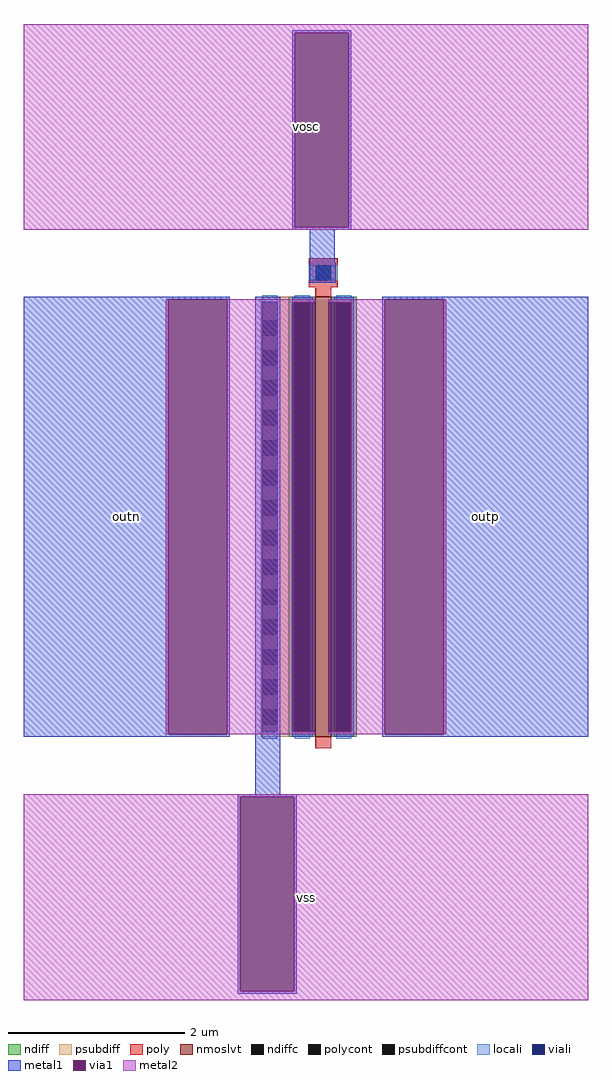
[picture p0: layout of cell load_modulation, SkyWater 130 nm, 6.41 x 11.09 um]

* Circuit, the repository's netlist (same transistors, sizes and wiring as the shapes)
** sch_path: /home/karlajcm/Documentos/TESIS DE
*+ GRADO/WORK_IN_PROGRESS/My_xschem/For_Layout/load_modulation.sch
.subckt load_modulation vss outn outp vosc
*.PININFO vss:B outn:B outp:B vosc:B
M1 outp vosc outn vss sky130_fd_pr__nfet_01v8_lvt L=0.18 W=5 nf=1 m=1
.ends
.end

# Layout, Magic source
magic
tech sky130A
magscale 1 2
<< ndiff >>
rect 176 526 178 1526
<< psubdiff >>
rect 112 1472 176 1526
rect 112 1438 116 1472
rect 150 1438 176 1472
rect 112 1404 176 1438
rect 112 1370 116 1404
rect 150 1370 176 1404
rect 112 1336 176 1370
rect 112 1302 116 1336
rect 150 1302 176 1336
rect 112 1268 176 1302
rect 112 1234 116 1268
rect 150 1234 176 1268
rect 112 1200 176 1234
rect 112 1166 116 1200
rect 150 1166 176 1200
rect 112 1132 176 1166
rect 112 1098 116 1132
rect 150 1098 176 1132
rect 112 1064 176 1098
rect 112 1030 116 1064
rect 150 1030 176 1064
rect 112 996 176 1030
rect 112 962 116 996
rect 150 962 176 996
rect 112 928 176 962
rect 112 894 116 928
rect 150 894 176 928
rect 112 860 176 894
rect 112 826 116 860
rect 150 826 176 860
rect 112 792 176 826
rect 112 758 116 792
rect 150 758 176 792
rect 112 724 176 758
rect 112 690 116 724
rect 150 690 176 724
rect 112 656 176 690
rect 112 622 116 656
rect 150 622 176 656
rect 112 588 176 622
rect 112 554 116 588
rect 150 554 176 588
rect 112 526 176 554
<< psubdiffcont >>
rect 116 1438 150 1472
rect 116 1370 150 1404
rect 116 1302 150 1336
rect 116 1234 150 1268
rect 116 1166 150 1200
rect 116 1098 150 1132
rect 116 1030 150 1064
rect 116 962 150 996
rect 116 894 150 928
rect 116 826 150 860
rect 116 758 150 792
rect 116 690 150 724
rect 116 622 150 656
rect 116 554 150 588
<< locali >>
rect 116 1514 150 1530
rect 116 522 150 538
<< viali >>
rect 116 1472 150 1514
rect 116 1438 150 1472
rect 116 1404 150 1438
rect 116 1370 150 1404
rect 116 1336 150 1370
rect 116 1302 150 1336
rect 116 1268 150 1302
rect 116 1234 150 1268
rect 116 1200 150 1234
rect 116 1166 150 1200
rect 116 1132 150 1166
rect 116 1098 150 1132
rect 116 1064 150 1098
rect 116 1030 150 1064
rect 116 996 150 1030
rect 116 962 150 996
rect 116 928 150 962
rect 116 894 150 928
rect 116 860 150 894
rect 116 826 150 860
rect 116 792 150 826
rect 116 758 150 792
rect 116 724 150 758
rect 116 690 150 724
rect 116 656 150 690
rect 116 622 150 656
rect 116 588 150 622
rect 116 554 150 588
rect 116 538 150 554
<< metal1 >>
rect 184 2126 318 2132
rect 184 1684 190 2126
rect 312 1684 318 2126
rect 184 1678 318 1684
rect 224 1558 280 1678
rect -426 1520 42 1526
rect -426 532 -98 1520
rect 36 532 42 1520
rect -426 526 42 532
rect 100 1514 156 1526
rect 388 1520 856 1526
rect 100 538 116 1514
rect 150 538 156 1514
rect 100 396 156 538
rect 184 1514 236 1520
rect 184 532 236 538
rect 266 1514 318 1520
rect 266 532 318 538
rect 388 532 394 1520
rect 528 532 856 1520
rect 388 526 856 532
rect 60 390 194 396
rect 60 -52 66 390
rect 188 -52 194 390
rect 60 -58 194 -52
<< via1 >>
rect 190 1684 312 2126
rect -98 532 36 1520
rect 184 538 236 1514
rect 266 538 318 1514
rect 394 532 528 1520
rect 66 -52 188 390
<< metal2 >>
rect -426 2126 856 2146
rect -426 1684 190 2126
rect 312 1684 856 2126
rect -426 1678 856 1684
rect -104 532 -98 1520
rect 36 1514 236 1520
rect 36 538 184 1514
rect 36 532 236 538
rect 266 1514 394 1520
rect 318 538 394 1514
rect 266 532 394 538
rect 528 532 534 1520
rect -426 390 856 396
rect -426 -52 66 390
rect 188 -52 856 390
rect -426 -72 856 -52
use sky130_fd_pr__nfet_01v8_lvt_R7ME6Q  M1
transform 1 0 254 0 1 1057
box -76 -557 76 557
<< labels >>
flabel metal1 388 526 856 1526 0 FreeMono 800 0 0 0 outp
port 1 nsew
flabel metal1 -426 526 42 1526 0 FreeMono 800 0 0 0 outn
port 2 nsew
flabel metal2 -426 -72 856 396 0 FreeMono 800 0 0 0 vss
port 0 nsew
flabel metal2 -426 1678 856 2146 0 FreeMono 800 0 0 0 vosc
port 3 nsew
<< end >>

# cell sky130_fd_pr__nfet_01v8_lvt_R7ME6Q: kit device sky130_fd_pr__nfet_01v8_lvt, w 5.0 l 0.18 m 1 nf 1 diffcov 100 polycov 100 guard 0 glc 1 grc 1 gtc 1 gbc 1 tbcov 100 rlcov 100 topc 1 botc 0 poverlap 0 doverlap 1 lmin 0.15 wmin 0.42 compatible {sky130_fd_pr__nfet_01v8 sky130_fd_pr__nfet_01v8_lvt sky130_fd_bs_flash__special_sonosfet_star sky130_fd_pr__nfet_g5v0d10v5 sky130_fd_pr__nfet_05v0_nvt sky130_fd_pr__nfet_03v3_nvt} full_metal 0 viasrc 100 viadrn 100 viagate 100 viagb 0 viagr 0 viagl 0 viagt 0
